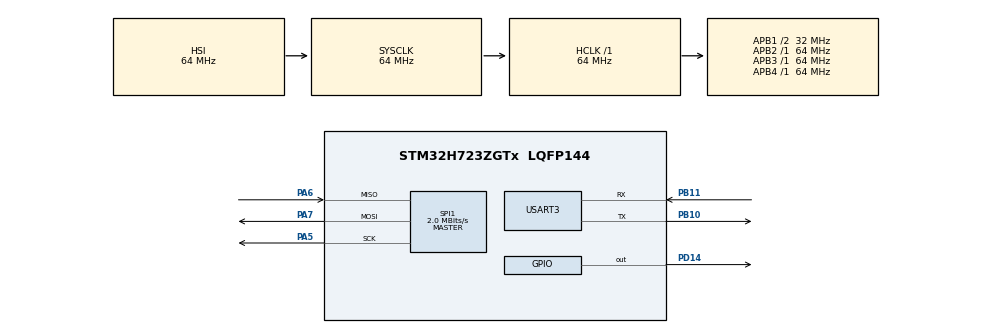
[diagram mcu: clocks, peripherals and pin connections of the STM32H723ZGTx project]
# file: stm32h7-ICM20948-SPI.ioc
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CORTEX_M7.default_mode_Activation=1
Mcu.Family=STM32H7
Mcu.Name=STM32H723ZGTx
Mcu.Package=LQFP144
NVIC.PriorityGroup=NVIC_PRIORITYGROUP_4
PA5.Mode=Full_Duplex_Master
PA5.Signal=SPI1_SCK
PA6.Mode=Full_Duplex_Master
PA6.Signal=SPI1_MISO
PA7.Mode=Full_Duplex_Master
PA7.Signal=SPI1_MOSI
PB10.Mode=Asynchronous
PB10.Signal=USART3_TX
PB11.Mode=Asynchronous
PB11.Signal=USART3_RX
PD14.Signal=GPIO_Output
ProjectManager.HeapSize=0x200
ProjectManager.StackSize=0x400
ProjectManager.TargetToolchain=EWARM V8.50
RCC.ADCFreq_Value=129000000
RCC.APB1Freq_Value=32000000
RCC.APB2Freq_Value=64000000
RCC.APB3Freq_Value=64000000
RCC.APB4Freq_Value=64000000
RCC.CortexFreq_Value=64000000
RCC.D2PPRE1=RCC_APB1_DIV2
RCC.DIVM1=4
RCC.DIVN1=12
RCC.DIVQ1=3
RCC.HCLKFreq_Value=64000000
RCC.PLLFRACN=0
RCC.SYSCLKFreq_VALUE=64000000
RCC.USBFreq_Value=64000000
SPI1.BaudRatePrescaler=SPI_BAUDRATEPRESCALER_32
SPI1.CLKPhase=SPI_PHASE_2EDGE
SPI1.CLKPolarity=SPI_POLARITY_HIGH
SPI1.CalculateBaudRate=2.0 MBits/s
SPI1.DataSize=SPI_DATASIZE_8BIT
SPI1.Direction=SPI_DIRECTION_2LINES
SPI1.Mode=SPI_MODE_MASTER
SPI1.NSSPMode=SPI_NSS_PULSE_DISABLE
SPI1.VirtualType=VM_MASTER
USART3.VirtualMode-Asynchronous=VM_ASYNC
VP_MEMORYMAP_VS_MEMORYMAP.Mode=CurAppReg
board=custom

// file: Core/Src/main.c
/* USER CODE BEGIN Header */
/**
  ******************************************************************************
  * @file           : main.c
  * @brief          : Main program body
  ******************************************************************************
  * @attention
  *
  * Copyright (c) 2025 STMicroelectronics.
  * All rights reserved.
  *
  * This software is licensed under terms that can be found in the LICENSE file
  * in the root directory of this software component.
  * If no LICENSE file comes with this software, it is provided AS-IS.
  *
  ******************************************************************************
  */
/* USER CODE END Header */

/* USER CODE BEGIN Includes */
// using stdio for printf debugging
#include <stdio.h>
/* USER CODE END Includes */

/* USER CODE BEGIN PD */
#include "..\Inc\main.h"
/* USER CODE END PD */

SPI_HandleTypeDef hspi1;

UART_HandleTypeDef huart3;

/* USER CODE BEGIN PV */
// Constants for the ICM20938 IMU
const uint8_t ACCEL_XOUT_H =  0x2D;
const uint8_t ACCEL_XOUT_L = 0x2E;
const uint8_t ACCEL_YOUT_H = 0x2F;
const uint8_t ACCEL_YOUT_L = 0x30;
const uint8_t ACCEL_ZOUT_H = 0x31;
const uint8_t ACCEL_ZOUT_L = 0x32;
axises my_accel;

/* USER CODE END PV */

void SystemClock_Config(void);
static void MPU_Config(void);
static void MX_GPIO_Init(void);
static void MX_SPI1_Init(void);
static void MX_USART3_UART_Init(void);

int main(void)
{

  /* USER CODE BEGIN 1 */
// UART is used to store strings that will print out over serial for debugging
  char uart_buf[50];
  int uart_buf_len;
  char spi_buf[50];
  int uart_len;
  /* USER CODE END 1 */

  /* MPU Configuration--------------------------------------------------------*/
  MPU_Config();

  /* MCU Configuration--------------------------------------------------------*/

  /* Reset of all peripherals, Initializes the Flash interface and the Systick. */
  HAL_Init();

  /* Configure the system clock */
  SystemClock_Config();

  /* Initialize all configured peripherals */
  MX_GPIO_Init();
  MX_SPI1_Init();
  MX_USART3_UART_Init();

  /* USER CODE BEGIN 2 */
  // Using the GPIO HAL library since we defined our cs as a GPIO Output pin
  // This is pin D14 or DE in hex on the board
  HAL_GPIO_WritePin(GPIOD, GPIO_PIN_14);

  // Test
  uart_buf_len = sprintf(uart_buf, "HELLO IM ALIVE");
  // Notice how I gave the address of the huart cuz the its a struct instance
  // and my program is expecting a pointer to that struct instance so I & it
  HAL_UART_Transmit(&huart3, (uint8_t*)uart_buf, uart_buf_len, HAL_MAX_DELAY);

  // reg bank select address
  uint8_t reg_addr = 0x7F;
  uint8_t bank_reg = 0x00; // Example value for bank 0 selection

  // CS low to start
  HAL_GPIO_WritePin(GPIOD, GPIO_PIN_14, GPIO_PIN_RESET);
  // SPI handle, data we want to send, size of data (number of byte), timeout
  //  WHO_AM_I regiter
  HAL_SPI_Transmit(&hspi1, &reg_addr, 1, 100);
  HAL_SPI_Transmit(&hspi1, &bank_reg, 1, 100);
  HAL_GPIO_WritePin(GPIOD, GPIO_PIN_14, GPIO_PIN_SET);

  // cs high to end
  // Now read back the WHO_AM_I register to verify we set the bank correctly
  // Bit 7 (MSB), 6, 5, 4, 3, 2, 1, 0 (LSB)
  // Hex 0x80 in binary is: 1000 0000
  // That means only bit 7 (the most significant bit) is 1, all others are 0.
  uint8_t reg_addr = 0x00|0x80; // Set MSB for read operation
  HAL_GPIO_WritePin(GPIOD, GPIO_PIN_14, GPIO_PIN_RESET);
  HAL_SPI_Transmit(&hspi1, &reg_addr, 1, 100);
  HAL_SPI_Receive(&hspi1, &bank_reg, 1, 100);
  HAL_GPIO_WritePin(GPIOD, GPIO_PIN_14, GPIO_PIN_SET);
  //reset value should be EA
  uart_buf_len = printf("WHO AM I? 0x%02X");
  HAL_GPIO_WritePin(GPIOD, GPIO_PIN_14, GPIO_PIN_SET);

  HAL_GPIO_WritePin(GPIO,GPIO_PIN_14, GPIO_PIN_SET );
  HAL_Delay(10);
  uint8_t tx2[2];
  uint8_t reg;
  uint8_t val;
    // Select register bank 0
  tx2[0] = ICM20948_REG_REG_BANK_SEL & 0x7F;  // write
  tx2[1] = 0x00;                              // bank 0
  HAL_GPIO_WritePin(GPIOD, GPIO_PIN_14, GPIO_PIN_RESET);
  HAL_SPI_Transmit(&hspi1, tx2, 2, HAL_MAX_DELAY);
  HAL_GPIO_WritePin(GPIOD, GPIO_PIN_14, GPIO_PIN_SET);

  // Disable I2C, enable SPI only: USER_CTRL = 0x10
  tx2[0] = ICM20948_REG_USER_CTRL & 0x7F;
  tx2[1] = 0x10;
  HAL_GPIO_WritePin(GPIOD, GPIO_PIN_14, GPIO_PIN_RESET);
  HAL_SPI_Transmit(&hspi1, tx2, 2, HAL_MAX_DELAY);
  HAL_GPIO_WritePin(GPIOD, GPIO_PIN_14, GPIO_PIN_SET);

  // Wake up device, auto-select best clock: PWR_MGMT_1 = 0x01
  tx2[0] = ICM20948_REG_PWR_MGMT_1 & 0x7F;
  tx2[1] = 0x01;
  HAL_GPIO_WritePin(GPIOD, GPIO_PIN_14, GPIO_PIN_RESET);
  HAL_SPI_Transmit(&hspi1, tx2, 2, HAL_MAX_DELAY);
  HAL_GPIO_WritePin(GPIOD, GPIO_PIN_14, GPIO_PIN_SET);

  // Enable accelerometer (all axes): PWR_MGMT_2 = 0x00
  tx2[0] = ICM20948_REG_PWR_MGMT_2 & 0x7F;
  tx2[1] = 0x00;
  HAL_GPIO_WritePin(GPIOD, GPIO_PIN_14, GPIO_PIN_RESET);
  HAL_SPI_Transmit(&hspi1, tx2, 2, HAL_MAX_DELAY);
  HAL_GPIO_WritePin(GPIOD, GPIO_PIN_14, GPIO_PIN_SET);

  HAL_Delay(50);

  // --- Read WHO_AM_I once and print ---

  reg = ICM20948_REG_WHO_AM_I | 0x80;  // read bit set
  HAL_GPIO_WritePin(GPIOD, GPIO_PIN_14, GPIO_PIN_RESET);
  HAL_SPI_Transmit(&hspi1, &reg, 1, HAL_MAX_DELAY);
  HAL_SPI_Receive(&hspi1, &val, 1, HAL_MAX_DELAY);
  HAL_GPIO_WritePin(GPIOD, GPIO_PIN_14, GPIO_PIN_SET);

  uart_len = snprintf(uart_buf, sizeof(uart_buf),
                      "WHO_AM_I = 0x%02X\r\n", val);
  HAL_UART_Transmit(&huart3, (uint8_t*)uart_buf, uart_len, HAL_MAX_DELAY);

  /* USER CODE END 2 */

  /* Infinite loop */
  while (1)
  {
      // Read 6 accel bytes starting at ACCEL_XOUT_H
      uint8_t rx_buf[6];
      int16_t ax, ay, az;

      reg = ICM20948_REG_ACCEL_XOUT_H | 0x80;  // read
      HAL_GPIO_WritePin(GPIOD, GPIO_PIN_14, GPIO_PIN_RESET);
      HAL_SPI_Transmit(&hspi1, &reg, 1, HAL_MAX_DELAY);
      HAL_SPI_Receive(&hspi1, rx_buf, 6, HAL_MAX_DELAY);
      HAL_GPIO_WritePin(GPIOD, GPIO_PIN_14, GPIO_PIN_SET);

      ax = (int16_t)((rx_buf[0] << 8) | rx_buf[1]);
      ay = (int16_t)((rx_buf[2] << 8) | rx_buf[3]);
      az = (int16_t)((rx_buf[4] << 8) | rx_buf[5]);

      uart_len = snprintf(uart_buf, sizeof(uart_buf),
                          "ACCEL: X=%d Y=%d Z=%d\r\n", ax, ay, az);
      HAL_UART_Transmit(&huart3, (uint8_t*)uart_buf, uart_len, HAL_MAX_DELAY);

      HAL_Delay(100); // 10 Hz

  }
}

void SystemClock_Config(void)
{
  RCC_OscInitTypeDef RCC_OscInitStruct = {0};
  RCC_ClkInitTypeDef RCC_ClkInitStruct = {0};

  /** Supply configuration update enable
  */
  HAL_PWREx_ConfigSupply(PWR_LDO_SUPPLY);

  /** Configure the main internal regulator output voltage
  */
  __HAL_PWR_VOLTAGESCALING_CONFIG(PWR_REGULATOR_VOLTAGE_SCALE3);

  while(!__HAL_PWR_GET_FLAG(PWR_FLAG_VOSRDY)) {}

  /** Initializes the RCC Oscillators according to the specified parameters
  * in the RCC_OscInitTypeDef structure.
  */
  RCC_OscInitStruct.OscillatorType = RCC_OSCILLATORTYPE_HSI;
  RCC_OscInitStruct.HSIState = RCC_HSI_DIV1;
  RCC_OscInitStruct.HSICalibrationValue = 64;
  RCC_OscInitStruct.PLL.PLLState = RCC_PLL_ON;
  RCC_OscInitStruct.PLL.PLLSource = RCC_PLLSOURCE_HSI;
  RCC_OscInitStruct.PLL.PLLM = 4;
  RCC_OscInitStruct.PLL.PLLN = 12;
  RCC_OscInitStruct.PLL.PLLP = 2;
  RCC_OscInitStruct.PLL.PLLQ = 3;
  RCC_OscInitStruct.PLL.PLLR = 2;
  RCC_OscInitStruct.PLL.PLLRGE = RCC_PLL1VCIRANGE_3;
  RCC_OscInitStruct.PLL.PLLVCOSEL = RCC_PLL1VCOWIDE;
  RCC_OscInitStruct.PLL.PLLFRACN = 0;
  if (HAL_RCC_OscConfig(&RCC_OscInitStruct) != HAL_OK)
  {
    Error_Handler();
  }

  /** Initializes the CPU, AHB and APB buses clocks
  */
  RCC_ClkInitStruct.ClockType = RCC_CLOCKTYPE_HCLK|RCC_CLOCKTYPE_SYSCLK
                              |RCC_CLOCKTYPE_PCLK1|RCC_CLOCKTYPE_PCLK2
                              |RCC_CLOCKTYPE_D3PCLK1|RCC_CLOCKTYPE_D1PCLK1;
  RCC_ClkInitStruct.SYSCLKSource = RCC_SYSCLKSOURCE_HSI;
  RCC_ClkInitStruct.SYSCLKDivider = RCC_SYSCLK_DIV1;
  RCC_ClkInitStruct.AHBCLKDivider = RCC_HCLK_DIV1;
  RCC_ClkInitStruct.APB3CLKDivider = RCC_APB3_DIV1;
  RCC_ClkInitStruct.APB1CLKDivider = RCC_APB1_DIV2;
  RCC_ClkInitStruct.APB2CLKDivider = RCC_APB2_DIV1;
  RCC_ClkInitStruct.APB4CLKDivider = RCC_APB4_DIV1;

  if (HAL_RCC_ClockConfig(&RCC_ClkInitStruct, FLASH_LATENCY_1) != HAL_OK)
  {
    Error_Handler();
  }
}

static void MX_SPI1_Init(void)
{

  /* SPI1 parameter configuration*/
  hspi1.Instance = SPI1;
  hspi1.Init.Mode = SPI_MODE_MASTER;
  hspi1.Init.Direction = SPI_DIRECTION_2LINES;
  hspi1.Init.DataSize = SPI_DATASIZE_8BIT;
  hspi1.Init.CLKPolarity = SPI_POLARITY_HIGH;
  hspi1.Init.CLKPhase = SPI_PHASE_2EDGE;
  hspi1.Init.NSS = SPI_NSS_SOFT;
  hspi1.Init.BaudRatePrescaler = SPI_BAUDRATEPRESCALER_32;
  hspi1.Init.FirstBit = SPI_FIRSTBIT_MSB;
  hspi1.Init.TIMode = SPI_TIMODE_DISABLE;
  hspi1.Init.CRCCalculation = SPI_CRCCALCULATION_DISABLE;
  hspi1.Init.CRCPolynomial = 0x0;
  hspi1.Init.NSSPMode = SPI_NSS_PULSE_DISABLE;
  hspi1.Init.NSSPolarity = SPI_NSS_POLARITY_LOW;
  hspi1.Init.FifoThreshold = SPI_FIFO_THRESHOLD_01DATA;
  hspi1.Init.TxCRCInitializationPattern = SPI_CRC_INITIALIZATION_ALL_ZERO_PATTERN;
  hspi1.Init.RxCRCInitializationPattern = SPI_CRC_INITIALIZATION_ALL_ZERO_PATTERN;
  hspi1.Init.MasterSSIdleness = SPI_MASTER_SS_IDLENESS_00CYCLE;
  hspi1.Init.MasterInterDataIdleness = SPI_MASTER_INTERDATA_IDLENESS_00CYCLE;
  hspi1.Init.MasterReceiverAutoSusp = SPI_MASTER_RX_AUTOSUSP_DISABLE;
  hspi1.Init.MasterKeepIOState = SPI_MASTER_KEEP_IO_STATE_DISABLE;
  hspi1.Init.IOSwap = SPI_IO_SWAP_DISABLE;
  if (HAL_SPI_Init(&hspi1) != HAL_OK)
  {
    Error_Handler();
  }

}

static void MX_USART3_UART_Init(void)
{

  huart3.Instance = USART3;
  huart3.Init.BaudRate = 115200;
  huart3.Init.WordLength = UART_WORDLENGTH_8B;
  huart3.Init.StopBits = UART_STOPBITS_1;
  huart3.Init.Parity = UART_PARITY_NONE;
  huart3.Init.Mode = UART_MODE_TX_RX;
  huart3.Init.HwFlowCtl = UART_HWCONTROL_NONE;
  huart3.Init.OverSampling = UART_OVERSAMPLING_16;
  huart3.Init.OneBitSampling = UART_ONE_BIT_SAMPLE_DISABLE;
  huart3.Init.ClockPrescaler = UART_PRESCALER_DIV1;
  huart3.AdvancedInit.AdvFeatureInit = UART_ADVFEATURE_NO_INIT;
  if (HAL_UART_Init(&huart3) != HAL_OK)
  {
    Error_Handler();
  }
  if (HAL_UARTEx_SetTxFifoThreshold(&huart3, UART_TXFIFO_THRESHOLD_1_8) != HAL_OK)
  {
    Error_Handler();
  }
  if (HAL_UARTEx_SetRxFifoThreshold(&huart3, UART_RXFIFO_THRESHOLD_1_8) != HAL_OK)
  {
    Error_Handler();
  }
  if (HAL_UARTEx_DisableFifoMode(&huart3) != HAL_OK)
  {
    Error_Handler();
  }

}

static void MX_GPIO_Init(void)
{
  GPIO_InitTypeDef GPIO_InitStruct = {0};

  /* GPIO Ports Clock Enable */
  __HAL_RCC_GPIOA_CLK_ENABLE();
  __HAL_RCC_GPIOB_CLK_ENABLE();
  __HAL_RCC_GPIOD_CLK_ENABLE();

  /*Configure GPIO pin Output Level */
  HAL_GPIO_WritePin(GPIOD, GPIO_PIN_14, GPIO_PIN_RESET);

  /*Configure GPIO pin : PD14 */
  GPIO_InitStruct.Pin = GPIO_PIN_14;
  GPIO_InitStruct.Mode = GPIO_MODE_OUTPUT_PP;
  GPIO_InitStruct.Pull = GPIO_NOPULL;
  GPIO_InitStruct.Speed = GPIO_SPEED_FREQ_LOW;
  HAL_GPIO_Init(GPIOD, &GPIO_InitStruct);

}

 /* MPU Configuration */

void MPU_Config(void)
{
  MPU_Region_InitTypeDef MPU_InitStruct = {0};

  /* Disables the MPU */
  HAL_MPU_Disable();

  /** Initializes and configures the Region and the memory to be protected
  */
  MPU_InitStruct.Enable = MPU_REGION_ENABLE;
  MPU_InitStruct.Number = MPU_REGION_NUMBER0;
  MPU_InitStruct.BaseAddress = 0x0;
  MPU_InitStruct.Size = MPU_REGION_SIZE_4GB;
  MPU_InitStruct.SubRegionDisable = 0x87;
  MPU_InitStruct.TypeExtField = MPU_TEX_LEVEL0;
  MPU_InitStruct.AccessPermission = MPU_REGION_NO_ACCESS;
  MPU_InitStruct.DisableExec = MPU_INSTRUCTION_ACCESS_DISABLE;
  MPU_InitStruct.IsShareable = MPU_ACCESS_SHAREABLE;
  MPU_InitStruct.IsCacheable = MPU_ACCESS_NOT_CACHEABLE;
  MPU_InitStruct.IsBufferable = MPU_ACCESS_NOT_BUFFERABLE;

  HAL_MPU_ConfigRegion(&MPU_InitStruct);
  /* Enables the MPU */
  HAL_MPU_Enable(MPU_PRIVILEGED_DEFAULT);

}

void Error_Handler(void)
{
  __disable_irq();
  while (1)
  {
  }
}
